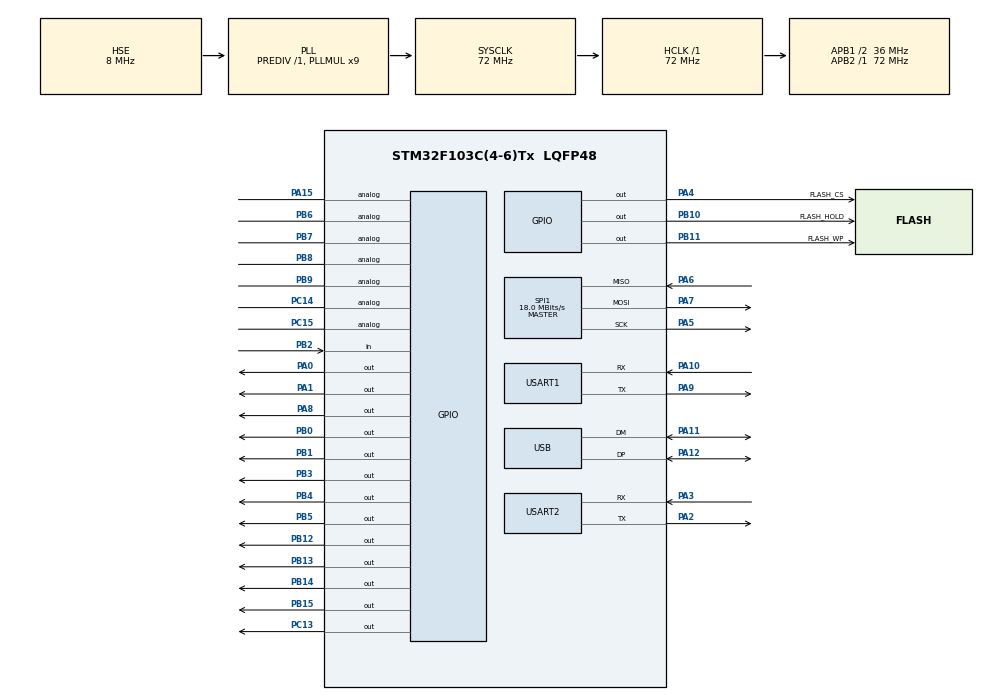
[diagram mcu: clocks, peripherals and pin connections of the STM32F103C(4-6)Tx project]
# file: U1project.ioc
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ADC1.Channel-1\#ChannelRegularConversion=ADC_CHANNEL_VREFINT
ADC1.NbrOfConversionFlag=1
ADC1.Rank-1\#ChannelRegularConversion=1
ADC1.SamplingTime-1\#ChannelRegularConversion=ADC_SAMPLETIME_1CYCLE_5
ADC1.master=1
Mcu.Family=STM32F1
Mcu.Name=STM32F103C(4-6)Tx
Mcu.Package=LQFP48
NVIC.PriorityGroup=NVIC_PRIORITYGROUP_4
NVIC.USART1_IRQn=true\:0\:0\:false\:false\:true\:true\:true\:true
NVIC.USART2_IRQn=true\:0\:0\:false\:false\:true\:true\:true\:true
NVIC.USB_LP_CAN1_RX0_IRQn=true\:0\:0\:false\:false\:true\:false\:true\:true
PA0-WKUP.Signal=GPIO_Output
PA1.Signal=GPIO_Output
PA10.Mode=Asynchronous
PA10.Signal=USART1_RX
PA11.Mode=Device
PA11.Signal=USB_DM
PA12.Mode=Device
PA12.Signal=USB_DP
PA13.Mode=Serial_Wire
PA13.Signal=SYS_JTMS-SWDIO
PA14.Mode=Serial_Wire
PA14.Signal=SYS_JTCK-SWCLK
PA15.Signal=GPIO_Analog
PA2.Mode=Asynchronous
PA2.Signal=USART2_TX
PA3.Mode=Asynchronous
PA3.Signal=USART2_RX
PA4.GPIO_Label=FLASH_CS
PA4.PinState=GPIO_PIN_SET
PA4.Signal=GPIO_Output
PA5.Mode=Full_Duplex_Master
PA5.Signal=SPI1_SCK
PA6.Mode=Full_Duplex_Master
PA6.Signal=SPI1_MISO
PA7.Mode=Full_Duplex_Master
PA7.Signal=SPI1_MOSI
PA8.Signal=GPIO_Output
PA9.Mode=Asynchronous
PA9.Signal=USART1_TX
PB0.Signal=GPIO_Output
PB1.Signal=GPIO_Output
PB10.GPIO_Label=FLASH_HOLD
PB10.PinState=GPIO_PIN_SET
PB10.Signal=GPIO_Output
PB11.GPIO_Label=FLASH_WP
PB11.PinState=GPIO_PIN_SET
PB11.Signal=GPIO_Output
PB12.Signal=GPIO_Output
PB13.Signal=GPIO_Output
PB14.Signal=GPIO_Output
PB15.PinState=GPIO_PIN_SET
PB15.Signal=GPIO_Output
PB2.Signal=GPIO_Input
PB3.PinState=GPIO_PIN_SET
PB3.Signal=GPIO_Output
PB4.Signal=GPIO_Output
PB5.Signal=GPIO_Output
PB6.Signal=GPIO_Analog
PB7.Signal=GPIO_Analog
PB8.Signal=GPIO_Analog
PB9.Signal=GPIO_Analog
PC13-TAMPER-RTC.Signal=GPIO_Output
PC14-OSC32_IN.Signal=GPIO_Analog
PC15-OSC32_OUT.Signal=GPIO_Analog
PD0-OSC_IN.Mode=HSE-External-Oscillator
PD0-OSC_IN.Signal=RCC_OSC_IN
PD1-OSC_OUT.Mode=HSE-External-Oscillator
PD1-OSC_OUT.Signal=RCC_OSC_OUT
ProjectManager.HeapSize=0x200
ProjectManager.StackSize=0x400
ProjectManager.TargetToolchain=MDK-ARM V5.32
RCC.ADCPresc=RCC_ADCPCLK2_DIV6
RCC.AHBFreq_Value=72000000
RCC.APB1CLKDivider=RCC_HCLK_DIV2
RCC.APB1Freq_Value=36000000
RCC.APB1TimFreq_Value=72000000
RCC.APB2Freq_Value=72000000
RCC.APB2TimFreq_Value=72000000
RCC.HCLKFreq_Value=72000000
RCC.PLLMUL=RCC_PLL_MUL9
RCC.SYSCLKFreq_VALUE=72000000
RCC.SYSCLKSource=RCC_SYSCLKSOURCE_PLLCLK
RCC.USBFreq_Value=48000000
RCC.USBPrescaler=RCC_USBCLKSOURCE_PLL_DIV1_5
SPI1.BaudRatePrescaler=SPI_BAUDRATEPRESCALER_4
SPI1.CalculateBaudRate=18.0 MBits/s
SPI1.Direction=SPI_DIRECTION_2LINES
SPI1.Mode=SPI_MODE_MASTER
SPI1.VirtualType=VM_MASTER
USART1.VirtualMode=VM_ASYNC
USART2.Parity=PARITY_EVEN
USART2.VirtualMode=VM_ASYNC
USART2.WordLength=WORDLENGTH_9B
USB_DEVICE.APP_RX_DATA_SIZE=512
USB_DEVICE.APP_TX_DATA_SIZE=512
USB_DEVICE.CLASS_NAME_FS=CDC
USB_DEVICE.VirtualMode=Cdc
USB_DEVICE.VirtualModeFS=Cdc_FS
VP_ADC1_Vref_Input.Mode=IN-Vrefint
VP_USB_DEVICE_VS_USB_DEVICE_CDC_FS.Mode=CDC_FS
board=custom

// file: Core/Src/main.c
/* USER CODE BEGIN Header */
/**
  ******************************************************************************
  * @file           : main.c
  * @brief          : Main program body
  ******************************************************************************
  * @attention
  *
  * Copyright (c) 2026 STMicroelectronics.
  * All rights reserved.
  *
  * This software is licensed under terms that can be found in the LICENSE file
  * in the root directory of this software component.
  * If no LICENSE file comes with this software, it is provided AS-IS.
  *
  ******************************************************************************
  */
/* USER CODE END Header */
#include "main.h"
#include "adc.h"
#include "spi.h"
#include "usart.h"
#include "usb_device.h"
#include "gpio.h"

/* USER CODE BEGIN Includes */
#include "usbd_cdc_if.h"
#include <stdio.h>
#include <stdarg.h>
#include "gd25q128.h"
#include "bsp_uart.h"
/* USER CODE END Includes */

void SystemClock_Config(void);

/* USER CODE BEGIN 0 */
void USB_printf(const char *format, ...)
{
    uint8_t tx_buf[128];
    va_list args;
    va_start(args, format);
    uint16_t len = vsnprintf((char *)tx_buf, sizeof(tx_buf), format, args);
    va_end(args);
    CDC_Transmit_FS(tx_buf, len);
}

/* USER CODE END 0 */

int main(void)
{

  /* MCU Configuration--------------------------------------------------------*/

  /* Reset of all peripherals, Initializes the Flash interface and the Systick. */
  HAL_Init();

  /* Configure the system clock */
  SystemClock_Config();

  /* Initialize all configured peripherals */
  MX_GPIO_Init();
  MX_USB_DEVICE_Init();
  MX_ADC1_Init();
  MX_USART2_UART_Init();
  MX_SPI1_Init();
  MX_USART1_UART_Init();
  /* USER CODE BEGIN 2 */
	HAL_Delay(2000); // 延时等待电脑枚举出 USB COM 口
  USB_printf("\r\n=================================\r\n");
  USB_printf("  U1 Jig System is Ready! \r\n");
  USB_printf("  Task 1: USB VCP Test OK! \r\n");
  USB_printf("=================================\r\n");
  /* USER CODE END 2 */

  /* Infinite loop */
  /* USER CODE BEGIN WHILE */
  while (1)
  {
		USB_printf("U1 Heartbeat: tick...\r\n");
    HAL_Delay(1000);
    /* USER CODE END WHILE */

  }
}

void SystemClock_Config(void)
{
  RCC_OscInitTypeDef RCC_OscInitStruct = {0};
  RCC_ClkInitTypeDef RCC_ClkInitStruct = {0};
  RCC_PeriphCLKInitTypeDef PeriphClkInit = {0};

  /** Initializes the RCC Oscillators according to the specified parameters
  * in the RCC_OscInitTypeDef structure.
  */
  RCC_OscInitStruct.OscillatorType = RCC_OSCILLATORTYPE_HSE;
  RCC_OscInitStruct.HSEState = RCC_HSE_ON;
  RCC_OscInitStruct.HSEPredivValue = RCC_HSE_PREDIV_DIV1;
  RCC_OscInitStruct.HSIState = RCC_HSI_ON;
  RCC_OscInitStruct.PLL.PLLState = RCC_PLL_ON;
  RCC_OscInitStruct.PLL.PLLSource = RCC_PLLSOURCE_HSE;
  RCC_OscInitStruct.PLL.PLLMUL = RCC_PLL_MUL9;
  if (HAL_RCC_OscConfig(&RCC_OscInitStruct) != HAL_OK)
  {
    Error_Handler();
  }

  /** Initializes the CPU, AHB and APB buses clocks
  */
  RCC_ClkInitStruct.ClockType = RCC_CLOCKTYPE_HCLK|RCC_CLOCKTYPE_SYSCLK
                              |RCC_CLOCKTYPE_PCLK1|RCC_CLOCKTYPE_PCLK2;
  RCC_ClkInitStruct.SYSCLKSource = RCC_SYSCLKSOURCE_PLLCLK;
  RCC_ClkInitStruct.AHBCLKDivider = RCC_SYSCLK_DIV1;
  RCC_ClkInitStruct.APB1CLKDivider = RCC_HCLK_DIV2;
  RCC_ClkInitStruct.APB2CLKDivider = RCC_HCLK_DIV1;

  if (HAL_RCC_ClockConfig(&RCC_ClkInitStruct, FLASH_LATENCY_2) != HAL_OK)
  {
    Error_Handler();
  }
  PeriphClkInit.PeriphClockSelection = RCC_PERIPHCLK_ADC|RCC_PERIPHCLK_USB;
  PeriphClkInit.AdcClockSelection = RCC_ADCPCLK2_DIV6;
  PeriphClkInit.UsbClockSelection = RCC_USBCLKSOURCE_PLL_DIV1_5;
  if (HAL_RCCEx_PeriphCLKConfig(&PeriphClkInit) != HAL_OK)
  {
    Error_Handler();
  }
}

void Error_Handler(void)
{
  __disable_irq();
  while (1)
  {
  }
}
